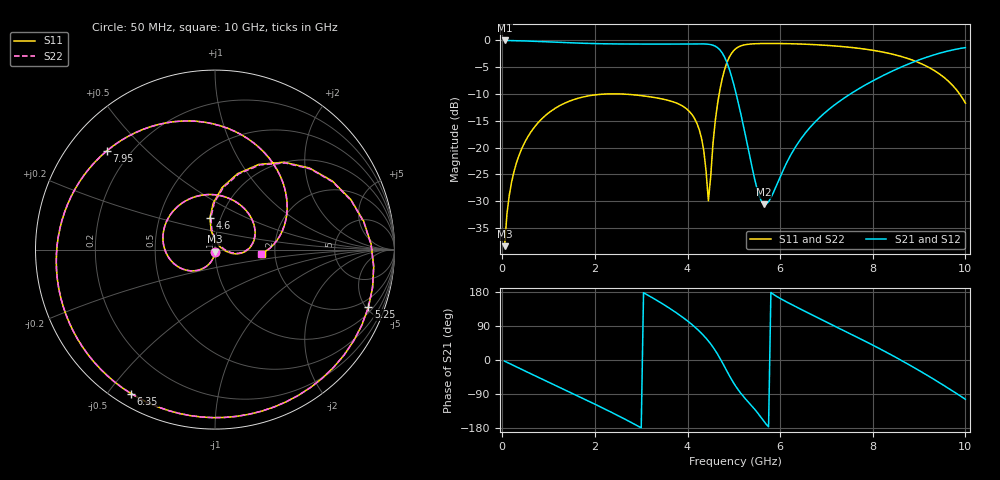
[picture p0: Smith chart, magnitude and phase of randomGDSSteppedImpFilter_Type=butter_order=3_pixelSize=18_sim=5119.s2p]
! freq	dB(S11)	phase(S11)	dB(S12)	phase(S12)
!  dB(S21)	phase(S21)	dB(S22)	phase(S22)
!S-par simulation data
#  GHz  S  DB  R 50
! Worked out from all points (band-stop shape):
!   200 points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, 50 MHz to 10 GHz, reference 50 ohm
!   highest |S21| = 0.00 dB at 50 MHz (marker M1); lowest = -30.6 dB at 5.65 GHz (marker M2)
!   |S21| within 3 dB of the highest: start of sweep to 4.792 GHz; 9.207 GHz to end of sweep
!   lowest |S11| = -38.4 dB at 50 MHz (marker M3), VSWR 1.02, Z = 49.9 - j1.2 ohm
!   |S11| at or under -10 dB: start of sweep to 2.219 GHz; 2.597 GHz to 4.683 GHz (2.087 GHz wide, 57.3 % of centre); 9.876 GHz to end of sweep
!   |S22| runs from -38.4 to -0.6 dB; largest |S21 - S12| = 0
!   S11 on the Smith chart (normalised r, x): 50 MHz: 1.00, -0.02; 4.6 GHz: 0.89, +0.33; 5.25 GHz: 1.35, -5.19; 6.35 GHz: 0.05, -0.57; 7.95 GHz: 0.12, +0.38; 10 GHz: 1.70, -0.08
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0.05  -38.38 -92.5  -0.00 -3.0  -0.00 -3.0  -38.38 -92.5
0.2  -26.46 -101.8  -0.03 -11.9  -0.03 -11.9  -26.46 -101.8
0.5  -18.77 -120.0  -0.10 -29.5  -0.10 -29.5  -18.77 -119.9
1.15  -12.62 -158.0  -0.33 -67.3  -0.33 -67.3  -12.62 -157.9
1.75  -10.54 167.3  -0.53 -102.0  -0.53 -102.0  -10.54 167.4
2.7  -10.05 109.9  -0.67 -159.4  -0.67 -159.4  -10.05 110.2
3.4  -10.83 62.4  -0.69 152.7  -0.69 152.7  -10.83 62.9
4.2  -15.41 -3.5  -0.65 82.4  -0.65 82.4  -15.39 -2.5
4.35  -20.52 -13.0  -0.65 64.3  -0.65 64.3  -20.43 -10.9
4.45  -29.92 28.9  -0.71 50.2  -0.71 50.2  -28.91 31.0
4.6  -14.91 98.9  -1.08 24.9  -1.08 24.9  -14.85 97.2
4.85  -4.15 51.7  -4.11 -29.3  -4.11 -29.3  -4.14 51.1
5.05  -1.48 10.8  -9.96 -70.9  -9.96 -70.9  -1.48 10.3
5.25  -0.79 -20.5  -17.69 -102.5  -17.69 -102.5  -0.79 -20.9
5.65  -0.57 -64.8  -30.57 -162.2  -30.57 -162.2  -0.57 -65.1
6.35  -0.64 -120.3  -19.62 139.9  -19.62 139.9  -0.64 -120.5
6.7  -0.77 -143.8  -15.70 118.3  -15.70 118.3  -0.76 -144.0
7.3  -1.11 178.3  -11.24 82.1  -11.24 82.1  -1.11 178.2
7.95  -1.77 137.5  -7.78 42.4  -7.78 42.4  -1.77 137.5
8.35  -2.41 111.4  -6.01 16.8  -6.01 16.8  -2.41 111.5
9.2  -4.98 52.1  -3.03 -42.1  -3.03 -42.1  -4.98 52.2
10  -11.70 -5.0  -1.34 -103.6  -1.34 -103.6  -11.72 -5.5
